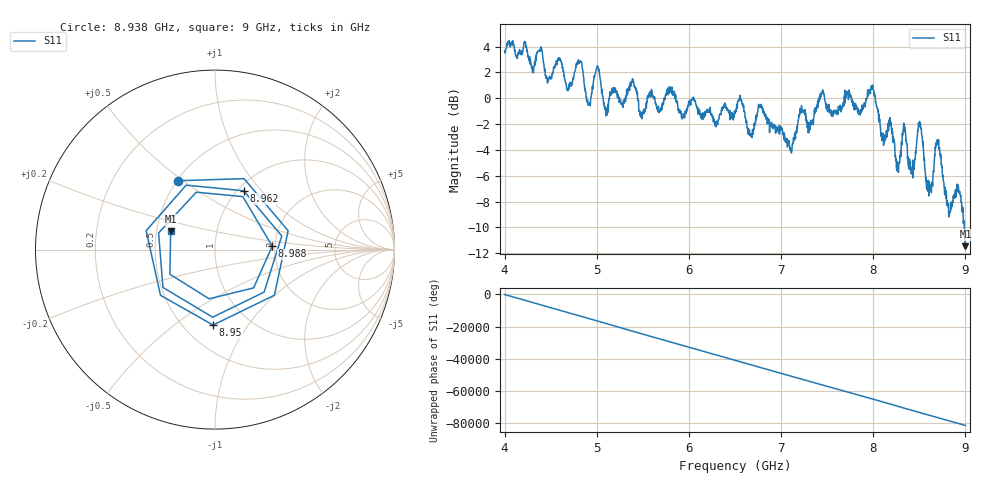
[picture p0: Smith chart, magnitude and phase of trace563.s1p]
! Created with skrf 1.8.0 (http://scikit-rf.org).
# Hz S RI R 50.0
!freq ReS11 ImS11
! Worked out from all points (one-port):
!   1601 points, 4 GHz to 9 GHz, reference 50 ohm
!   lowest |S11| = -11.5 dB at 9 GHz (marker M1), VSWR 1.73, Z = 29.7 + j6.52 ohm
!   |S11| at or under -10 dB: 8.988552 GHz to end of sweep
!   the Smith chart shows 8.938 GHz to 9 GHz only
!   S11 on the Smith chart (normalised r, x): 8.938 GHz: 0.51, +0.48; 8.95 GHz: 0.69, -0.70; 8.962 GHz: 1.07, +0.81; 8.988 GHz: 1.93, +0.08; 9 GHz: 0.59, +0.13
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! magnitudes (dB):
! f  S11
! 4 GHz  3.7
! 4.625 GHz  2.3
! 4.697 GHz  1.1
! 4.819 GHz  2.8
! 4.909 GHz  -0.4
! 5.003 GHz  2.4
! 5.1 GHz  -1.4
! 5.25 GHz  -0.2
! 5.875 GHz  -0.3
! 6.5 GHz  -1.1
! 6.669 GHz  -2.8
! 6.778 GHz  -0.5
! 7.125 GHz  -3.5
! 7.441 GHz  0.4
! 7.75 GHz  0.1
! 7.997 GHz  0.7
! 8.103 GHz  -3.2
! 8.375 GHz  -4.5
! 8.428 GHz  -4.8
! 8.506 GHz  -1.9
! 8.603 GHz  -7.6
! 8.697 GHz  -3.5
! 8.812 GHz  -8.4
! 8.938 GHz  -7.2
! 8.95 GHz  -7.5
! 8.962 GHz  -8.8
! 8.988 GHz  -9.9
! 9 GHz  -11.5
